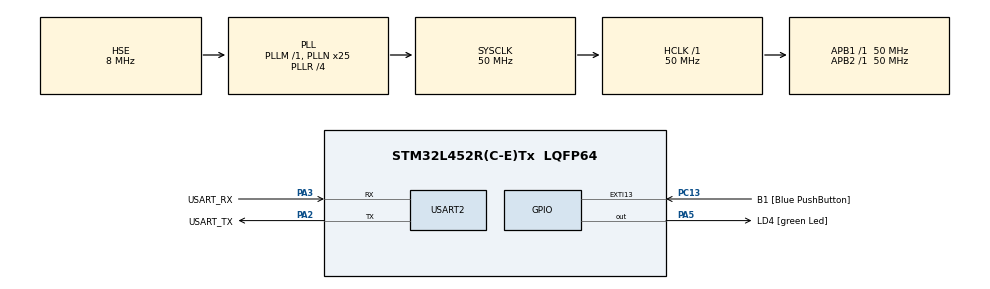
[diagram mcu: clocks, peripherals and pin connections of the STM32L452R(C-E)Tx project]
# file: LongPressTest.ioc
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Mcu.Family=STM32L4
Mcu.Name=STM32L452R(C-E)Tx
Mcu.Package=LQFP64
NVIC.EXTI15_10_IRQn=true\:0\:0\:false\:false\:true\:true\:true
NVIC.PriorityGroup=NVIC_PRIORITYGROUP_4
NVIC.TIM6_DAC_IRQn=true\:0\:0\:false\:false\:true\:true\:true
PA13\ (JTMS/SWDIO).GPIO_Label=TMS
PA13\ (JTMS/SWDIO).Mode=Serial_Wire
PA13\ (JTMS/SWDIO).Signal=SYS_JTMS-SWDIO
PA14\ (JTCK/SWCLK).GPIO_Label=TCK
PA14\ (JTCK/SWCLK).Mode=Serial_Wire
PA14\ (JTCK/SWCLK).Signal=SYS_JTCK-SWCLK
PA2.GPIO_Label=USART_TX
PA2.GPIO_Mode=GPIO_MODE_AF_PP
PA2.GPIO_PuPd=GPIO_NOPULL
PA2.GPIO_Speed=GPIO_SPEED_FREQ_VERY_HIGH
PA2.Mode=Asynchronous
PA2.Signal=USART2_TX
PA3.GPIO_Label=USART_RX
PA3.GPIO_Mode=GPIO_MODE_AF_PP
PA3.GPIO_PuPd=GPIO_NOPULL
PA3.GPIO_Speed=GPIO_SPEED_FREQ_VERY_HIGH
PA3.Mode=Asynchronous
PA3.Signal=USART2_RX
PA5.GPIO_Label=LD4 [green Led]
PA5.GPIO_ModeDefaultOutputPP=GPIO_MODE_OUTPUT_PP
PA5.GPIO_PuPd=GPIO_NOPULL
PA5.GPIO_Speed=GPIO_SPEED_FREQ_LOW
PA5.Signal=GPIO_Output
PB3\ (JTDO/TRACESWO).GPIO_Label=SWO
PB3\ (JTDO/TRACESWO).Signal=SYS_JTDO-SWO
PC13.GPIO_Label=B1 [Blue PushButton]
PC13.GPIO_ModeDefaultEXTI=GPIO_MODE_IT_FALLING
PC13.GPIO_PuPd=GPIO_NOPULL
PC13.Signal=GPXTI13
PC14-OSC32_IN\ (PC14).Mode=LSE-External-Oscillator
PC14-OSC32_IN\ (PC14).Signal=RCC_OSC32_IN
PC15-OSC32_OUT\ (PC15).Mode=LSE-External-Oscillator
PC15-OSC32_OUT\ (PC15).Signal=RCC_OSC32_OUT
PH0-OSC_IN\ (PH0).Mode=HSE-External-Clock-Source
PH0-OSC_IN\ (PH0).Signal=RCC_OSC_IN
PH1-OSC_OUT\ (PH1).Signal=RCC_OSC_OUT
ProjectManager.HeapSize=0x200
ProjectManager.StackSize=0x400
ProjectManager.TargetToolchain=TrueSTUDIO
RCC.ADCFreq_Value=32000000
RCC.AHBFreq_Value=50000000
RCC.APB1Freq_Value=50000000
RCC.APB1TimFreq_Value=50000000
RCC.APB2Freq_Value=50000000
RCC.APB2TimFreq_Value=50000000
RCC.CortexFreq_Value=50000000
RCC.HCLKFreq_Value=50000000
RCC.HSE_VALUE=8000000
RCC.HSI48_VALUE=48000000
RCC.HSI_VALUE=16000000
RCC.MSI_VALUE=4000000
RCC.PLLN=25
RCC.PLLR=RCC_PLLR_DIV4
RCC.PLLSourceVirtual=RCC_PLLSOURCE_HSE
RCC.PREFETCH_ENABLE=1
RCC.SYSCLKFreq_VALUE=50000000
RCC.SYSCLKSource=RCC_SYSCLKSOURCE_PLLCLK
RCC.USBFreq_Value=32000000
RCC.VCOOutputFreq_Value=200000000
TIM6.Period=999
TIM6.Prescaler=49
USART2.VirtualMode-Asynchronous=VM_ASYNC
VP_TIM6_VS_ClockSourceINT.Mode=Enable_Timer
board=NUCLEO-L452RE

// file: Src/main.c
/* USER CODE BEGIN Header */
/**
 ******************************************************************************
 * @file           : main.c
 * @brief          : Main program body
 ******************************************************************************
 * @attention
 *
 * <h2><center>&copy; Copyright (c) 2020 STMicroelectronics.
 * All rights reserved.</center></h2>
 *
 * This software component is licensed by ST under BSD 3-Clause license,
 * the "License"; You may not use this file except in compliance with the
 * License. You may obtain a copy of the License at:
 *                        opensource.org/licenses/BSD-3-Clause
 *
 ******************************************************************************
 */
/* USER CODE END Header */

#include "main.h"

/* USER CODE BEGIN Includes */

#include "buttonProcess.h"
/* USER CODE END Includes */

/* USER CODE BEGIN PTD */
typedef struct
{
	uint16_t interval; /* How often to call the task */
	void (*proc)(void); /* pointer to function returning void */
} timed_task_t;

enum intervals
{
	INTERVAL_16_MSEC = 160, INTERVAL_50_MSEC = 250, INTERVAL_500_MSEC = 1000,INTERVAL_10_MSEC = 10
};

uint32_t tick;
uint8_t updateReady;

/* Initialization code goes here. Then enter the main loop */
/* USER CODE END PTD */

TIM_HandleTypeDef htim6;

UART_HandleTypeDef huart2;

/* USER CODE BEGIN PV */

char uart_buff[50];
uint8_t buttons_states[NUM_OF_BUTTONS] =
{ 0 };

/* USER CODE END PV */

void SystemClock_Config(void);
static void MX_GPIO_Init(void);
static void MX_TIM6_Init(void);
static void MX_USART2_UART_Init(void);
/* USER CODE BEGIN PFP */

void fnA(void);
void fnB(void);
void fnC(void);
/* USER CODE END PFP */

/* USER CODE BEGIN 0 */
static const timed_task_t timed_task[] =
{
{ INTERVAL_16_MSEC, fnA },
{ INTERVAL_50_MSEC, fnB },
{ INTERVAL_500_MSEC, fnC },
{ INTERVAL_10_MSEC, process_buttons},
{ 0, NULL } };

char uart_buff[50];
/* USER CODE END 0 */

int main(void)
{

	/* MCU Configuration--------------------------------------------------------*/

	/* Reset of all peripherals, Initializes the Flash interface and the Systick. */
	HAL_Init();

	/* Configure the system clock */
	SystemClock_Config();

	/* Initialize all configured peripherals */
	MX_GPIO_Init();
	MX_TIM6_Init();
	MX_USART2_UART_Init();
	/* USER CODE BEGIN 2 */

	HAL_TIM_Base_Start_IT(&htim6);

	const timed_task_t *ptr;

	/* USER CODE END 2 */

	/* Infinite loop */
	while (1)
	{

		/* USER CODE BEGIN 3 */
		if (updateReady)
		{
			updateReady--;  // to not update to offten

			for (ptr = timed_task; ptr->interval != 0; ptr++)
			{
				if (!(tick % ptr->interval))
				{
					/* Time to call the function */
					(ptr->proc)();
				}
			}

		}

	}
	/* USER CODE END 3 */
}

void SystemClock_Config(void)
{
	RCC_OscInitTypeDef RCC_OscInitStruct =
	{ 0 };
	RCC_ClkInitTypeDef RCC_ClkInitStruct =
	{ 0 };
	RCC_PeriphCLKInitTypeDef PeriphClkInit =
	{ 0 };

	/** Initializes the CPU, AHB and APB busses clocks
	 */
	RCC_OscInitStruct.OscillatorType = RCC_OSCILLATORTYPE_HSE;
	RCC_OscInitStruct.HSEState = RCC_HSE_BYPASS;
	RCC_OscInitStruct.PLL.PLLState = RCC_PLL_ON;
	RCC_OscInitStruct.PLL.PLLSource = RCC_PLLSOURCE_HSE;
	RCC_OscInitStruct.PLL.PLLM = 1;
	RCC_OscInitStruct.PLL.PLLN = 25;
	RCC_OscInitStruct.PLL.PLLP = RCC_PLLP_DIV7;
	RCC_OscInitStruct.PLL.PLLQ = RCC_PLLQ_DIV2;
	RCC_OscInitStruct.PLL.PLLR = RCC_PLLR_DIV4;
	if (HAL_RCC_OscConfig(&RCC_OscInitStruct) != HAL_OK)
	{
		Error_Handler();
	}
	/** Initializes the CPU, AHB and APB busses clocks
	 */
	RCC_ClkInitStruct.ClockType = RCC_CLOCKTYPE_HCLK | RCC_CLOCKTYPE_SYSCLK | RCC_CLOCKTYPE_PCLK1 | RCC_CLOCKTYPE_PCLK2;
	RCC_ClkInitStruct.SYSCLKSource = RCC_SYSCLKSOURCE_PLLCLK;
	RCC_ClkInitStruct.AHBCLKDivider = RCC_SYSCLK_DIV1;
	RCC_ClkInitStruct.APB1CLKDivider = RCC_HCLK_DIV1;
	RCC_ClkInitStruct.APB2CLKDivider = RCC_HCLK_DIV1;

	if (HAL_RCC_ClockConfig(&RCC_ClkInitStruct, FLASH_LATENCY_3) != HAL_OK)
	{
		Error_Handler();
	}
	PeriphClkInit.PeriphClockSelection = RCC_PERIPHCLK_USART2;
	PeriphClkInit.Usart2ClockSelection = RCC_USART2CLKSOURCE_PCLK1;
	if (HAL_RCCEx_PeriphCLKConfig(&PeriphClkInit) != HAL_OK)
	{
		Error_Handler();
	}
	/** Configure the main internal regulator output voltage
	 */
	if (HAL_PWREx_ControlVoltageScaling(PWR_REGULATOR_VOLTAGE_SCALE1) != HAL_OK)
	{
		Error_Handler();
	}

}

static void MX_TIM6_Init(void)
{

	TIM_MasterConfigTypeDef sMasterConfig =
	{ 0 };

	htim6.Instance = TIM6;
	htim6.Init.Prescaler = 49;
	htim6.Init.CounterMode = TIM_COUNTERMODE_UP;
	htim6.Init.Period = 999;
	htim6.Init.AutoReloadPreload = TIM_AUTORELOAD_PRELOAD_DISABLE;
	if (HAL_TIM_Base_Init(&htim6) != HAL_OK)
	{
		Error_Handler();
	}
	sMasterConfig.MasterOutputTrigger = TIM_TRGO_RESET;
	sMasterConfig.MasterSlaveMode = TIM_MASTERSLAVEMODE_DISABLE;
	if (HAL_TIMEx_MasterConfigSynchronization(&htim6, &sMasterConfig) != HAL_OK)
	{
		Error_Handler();
	}

}

static void MX_USART2_UART_Init(void)
{

	huart2.Instance = USART2;
	huart2.Init.BaudRate = 115200;
	huart2.Init.WordLength = UART_WORDLENGTH_8B;
	huart2.Init.StopBits = UART_STOPBITS_1;
	huart2.Init.Parity = UART_PARITY_NONE;
	huart2.Init.Mode = UART_MODE_TX_RX;
	huart2.Init.HwFlowCtl = UART_HWCONTROL_NONE;
	huart2.Init.OverSampling = UART_OVERSAMPLING_16;
	huart2.Init.OneBitSampling = UART_ONE_BIT_SAMPLE_DISABLE;
	huart2.AdvancedInit.AdvFeatureInit = UART_ADVFEATURE_NO_INIT;
	if (HAL_UART_Init(&huart2) != HAL_OK)
	{
		Error_Handler();
	}

}

static void MX_GPIO_Init(void)
{
	GPIO_InitTypeDef GPIO_InitStruct =
	{ 0 };

	/* GPIO Ports Clock Enable */
	__HAL_RCC_GPIOC_CLK_ENABLE()
	;
	__HAL_RCC_GPIOH_CLK_ENABLE()
	;
	__HAL_RCC_GPIOA_CLK_ENABLE()
	;
	__HAL_RCC_GPIOB_CLK_ENABLE()
	;

	/*Configure GPIO pin Output Level */
	HAL_GPIO_WritePin(LD4_GPIO_Port, LD4_Pin, GPIO_PIN_RESET);

	/*Configure GPIO pin : B1_Pin */
	GPIO_InitStruct.Pin = B1_Pin;
	GPIO_InitStruct.Mode = GPIO_MODE_IT_FALLING;
	GPIO_InitStruct.Pull = GPIO_NOPULL;
	HAL_GPIO_Init(B1_GPIO_Port, &GPIO_InitStruct);

	/*Configure GPIO pin : LD4_Pin */
	GPIO_InitStruct.Pin = LD4_Pin;
	GPIO_InitStruct.Mode = GPIO_MODE_OUTPUT_PP;
	GPIO_InitStruct.Pull = GPIO_NOPULL;
	GPIO_InitStruct.Speed = GPIO_SPEED_FREQ_LOW;
	HAL_GPIO_Init(LD4_GPIO_Port, &GPIO_InitStruct);

	/* EXTI interrupt init*/
	HAL_NVIC_SetPriority(EXTI15_10_IRQn, 0, 0);
	HAL_NVIC_EnableIRQ(EXTI15_10_IRQn);

}

/* USER CODE BEGIN 4 */

void HAL_TIM_PeriodElapsedCallback(TIM_HandleTypeDef *htim)
{

	//aktualizacja stanu guzików - do dopisania w formie funkcji void
	buttons_states[0] = !HAL_GPIO_ReadPin(B1_GPIO_Port, B1_Pin);
	//funkcja zajmuj¹ca siê obs³ug¹ guzików
	//process_buttons(buttons_states);

}

void HAL_GPIO_EXTI_Callback(uint16_t GPIO_Pin)
{

	if (GPIO_Pin == B1_Pin)
	{
		buttons_states[BUTTON1] = 1;

	}

}
void fnA(void)
{
	HAL_GPIO_WritePin(LD4_GPIO_Port, LD4_Pin, SET);

}
void fnB(void)
{
	HAL_GPIO_WritePin(LD4_GPIO_Port, LD4_Pin, RESET);

}

void fnC(void)
{
	/*sprintf(uart_buff, "FUNCTION C \n");

	HAL_UART_Transmit(&huart2, (uint8_t*) uart_buff, strlen(uart_buff),
	HAL_MAX_DELAY);*/

}

void HAL_SYSTICK_Callback(void)
{

	tick++;
	updateReady++;
}
/* USER CODE END 4 */

void Error_Handler(void)
{
}

/************************ (C) COPYRIGHT STMicroelectronics *****END OF FILE****/
